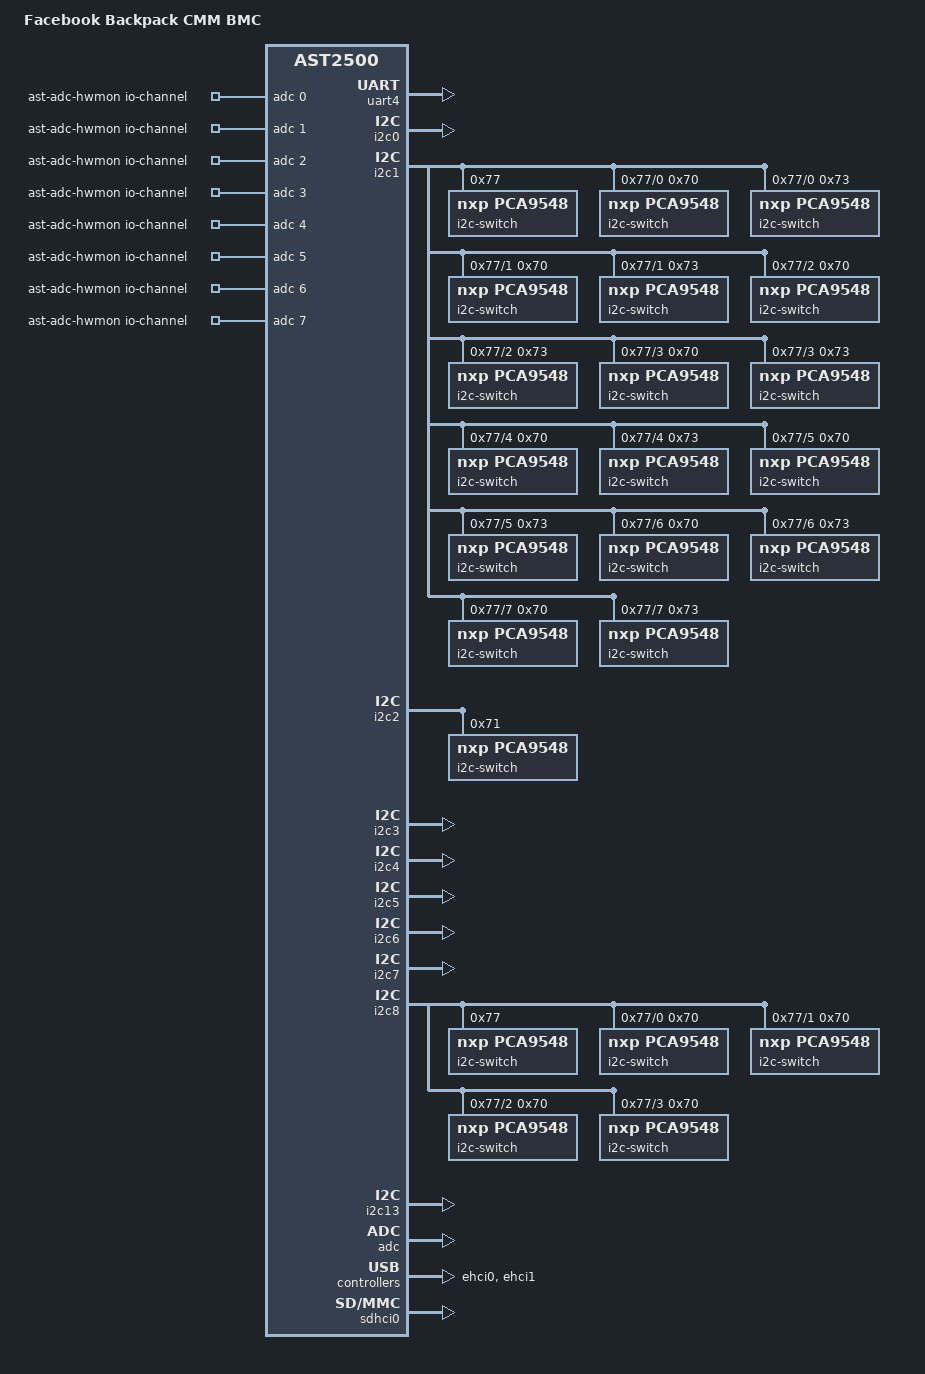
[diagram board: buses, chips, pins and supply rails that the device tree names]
// SPDX-License-Identifier: GPL-2.0+
// Copyright (c) 2018 Facebook Inc.
/dts-v1/;

#include "ast2500-facebook-netbmc-common.dtsi"

/ {
	model = "Facebook Backpack CMM BMC";
	compatible = "facebook,cmm-bmc", "aspeed,ast2500";

	aliases {
		/*
		 * Override the default uart aliases to avoid breaking
		 * the legacy applications.
		 */
		serial0 = &uart5;
		serial1 = &uart1;
		serial2 = &uart3;
		serial3 = &uart4;

		/*
		 * PCA9548 (1-0077) provides 8 channels for connecting to
		 * 4 Line Cards and 4 Fabric Cards.
		 */
		i2c16 = &imux16;
		i2c17 = &imux17;
		i2c18 = &imux18;
		i2c19 = &imux19;
		i2c20 = &imux20;
		i2c21 = &imux21;
		i2c22 = &imux22;
		i2c23 = &imux23;

		/*
		 * PCA9548 (2-0071) provides 8 channels for connecting to
		 * Power Distribution Board.
		 */
		i2c24 = &imux24;
		i2c25 = &imux25;
		i2c26 = &imux26;
		i2c27 = &imux27;
		i2c28 = &imux28;
		i2c29 = &imux29;
		i2c30 = &imux30;
		i2c31 = &imux31;

		/*
		 * PCA9548 (8-0077) provides 8 channels and the first 4
		 * channels are connecting to 4 Fan Control Boards.
		 */
		i2c32 = &imux32;
		i2c33 = &imux33;
		i2c34 = &imux34;
		i2c35 = &imux35;
		i2c36 = &imux36;
		i2c37 = &imux37;
		i2c38 = &imux38;
		i2c39 = &imux39;

		/*
		 * 2 PCA9548 (18-0070 & 18-0073), 16 channels connecting
		 * to Line Card #1.
		 */
		i2c40 = &imux40;
		i2c41 = &imux41;
		i2c42 = &imux42;
		i2c43 = &imux43;
		i2c44 = &imux44;
		i2c45 = &imux45;
		i2c46 = &imux46;
		i2c47 = &imux47;
		i2c48 = &imux48;
		i2c49 = &imux49;
		i2c50 = &imux50;
		i2c51 = &imux51;
		i2c52 = &imux52;
		i2c53 = &imux53;
		i2c54 = &imux54;
		i2c55 = &imux55;

		/*
		 * 2 PCA9548 (19-0070 & 19-0073), 16 channels connecting
		 * to Line Card #2.
		 */
		i2c56 = &imux56;
		i2c57 = &imux57;
		i2c58 = &imux58;
		i2c59 = &imux59;
		i2c60 = &imux60;
		i2c61 = &imux61;
		i2c62 = &imux62;
		i2c63 = &imux63;
		i2c64 = &imux64;
		i2c65 = &imux65;
		i2c66 = &imux66;
		i2c67 = &imux67;
		i2c68 = &imux68;
		i2c69 = &imux69;
		i2c70 = &imux70;
		i2c71 = &imux71;

		/*
		 * 2 PCA9548 (20-0070 & 20-0073), 16 channels connecting
		 * to Line Card #3.
		 */
		i2c72 = &imux72;
		i2c73 = &imux73;
		i2c74 = &imux74;
		i2c75 = &imux75;
		i2c76 = &imux76;
		i2c77 = &imux77;
		i2c78 = &imux78;
		i2c79 = &imux79;
		i2c80 = &imux80;
		i2c81 = &imux81;
		i2c82 = &imux82;
		i2c83 = &imux83;
		i2c84 = &imux84;
		i2c85 = &imux85;
		i2c86 = &imux86;
		i2c87 = &imux87;

		/*
		 * 2 PCA9548 (21-0070 & 21-0073), 16 channels connecting
		 * to Line Card #4.
		 */
		i2c88 = &imux88;
		i2c89 = &imux89;
		i2c90 = &imux90;
		i2c91 = &imux91;
		i2c92 = &imux92;
		i2c93 = &imux93;
		i2c94 = &imux94;
		i2c95 = &imux95;
		i2c96 = &imux96;
		i2c97 = &imux97;
		i2c98 = &imux98;
		i2c99 = &imux99;
		i2c100 = &imux100;
		i2c101 = &imux101;
		i2c102 = &imux102;
		i2c103 = &imux103;

		/*
		 * 2 PCA9548 (16-0070 & 16-0073), 16 channels connecting
		 * to Fabric Card #1.
		 */
		i2c104 = &imux104;
		i2c105 = &imux105;
		i2c106 = &imux106;
		i2c107 = &imux107;
		i2c108 = &imux108;
		i2c109 = &imux109;
		i2c110 = &imux110;
		i2c111 = &imux111;
		i2c112 = &imux112;
		i2c113 = &imux113;
		i2c114 = &imux114;
		i2c115 = &imux115;
		i2c116 = &imux116;
		i2c117 = &imux117;
		i2c118 = &imux118;
		i2c119 = &imux119;

		/*
		 * 2 PCA9548 (17-0070 & 17-0073), 16 channels connecting
		 * to Fabric Card #2.
		 */
		i2c120 = &imux120;
		i2c121 = &imux121;
		i2c122 = &imux122;
		i2c123 = &imux123;
		i2c124 = &imux124;
		i2c125 = &imux125;
		i2c126 = &imux126;
		i2c127 = &imux127;
		i2c128 = &imux128;
		i2c129 = &imux129;
		i2c130 = &imux130;
		i2c131 = &imux131;
		i2c132 = &imux132;
		i2c133 = &imux133;
		i2c134 = &imux134;
		i2c135 = &imux135;

		/*
		 * 2 PCA9548 (22-0070 & 22-0073), 16 channels connecting
		 * to Fabric Card #3.
		 */
		i2c136 = &imux136;
		i2c137 = &imux137;
		i2c138 = &imux138;
		i2c139 = &imux139;
		i2c140 = &imux140;
		i2c141 = &imux141;
		i2c142 = &imux142;
		i2c143 = &imux143;
		i2c144 = &imux144;
		i2c145 = &imux145;
		i2c146 = &imux146;
		i2c147 = &imux147;
		i2c148 = &imux148;
		i2c149 = &imux149;
		i2c150 = &imux150;
		i2c151 = &imux151;

		/*
		 * 2 PCA9548 (23-0070 & 23-0073), 16 channels connecting
		 * to Fabric Card #4.
		 */
		i2c152 = &imux152;
		i2c153 = &imux153;
		i2c154 = &imux154;
		i2c155 = &imux155;
		i2c156 = &imux156;
		i2c157 = &imux157;
		i2c158 = &imux158;
		i2c159 = &imux159;
		i2c160 = &imux160;
		i2c161 = &imux161;
		i2c162 = &imux162;
		i2c163 = &imux163;
		i2c164 = &imux164;
		i2c165 = &imux165;
		i2c166 = &imux166;
		i2c167 = &imux167;

		/*
		 * PCA9548 (32-0070), 8 channels connecting to Fan Control
		 # Board #1.
		 */
		i2c168 = &imux168;
		i2c169 = &imux169;
		i2c170 = &imux170;
		i2c171 = &imux171;
		i2c172 = &imux172;
		i2c173 = &imux173;
		i2c174 = &imux174;
		i2c175 = &imux175;

		/*
		 * PCA9548 (33-0070), 8 channels connecting to Fan Control
		 # Board #2.
		 */
		i2c176 = &imux176;
		i2c177 = &imux177;
		i2c178 = &imux178;
		i2c179 = &imux179;
		i2c180 = &imux180;
		i2c181 = &imux181;
		i2c182 = &imux182;
		i2c183 = &imux183;

		/*
		 * PCA9548 (34-0070), 8 channels connecting to Fan Control
		 # Board #3.
		 */
		i2c184 = &imux184;
		i2c185 = &imux185;
		i2c186 = &imux186;
		i2c187 = &imux187;
		i2c188 = &imux188;
		i2c189 = &imux189;
		i2c190 = &imux190;
		i2c191 = &imux191;

		/*
		 * PCA9548 (35-0070), 8 channels connecting to Fan Control
		 # Board #4.
		 */
		i2c192 = &imux192;
		i2c193 = &imux193;
		i2c194 = &imux194;
		i2c195 = &imux195;
		i2c196 = &imux196;
		i2c197 = &imux197;
		i2c198 = &imux198;
		i2c199 = &imux199;
	};

	chosen {
		stdout-path = &uart1;
		bootargs = "console=ttyS1,9600n8 root=/dev/ram rw earlyprintk";
	};

	ast-adc-hwmon {
		compatible = "iio-hwmon";
		io-channels = <&adc 0>, <&adc 1>, <&adc 2>, <&adc 3>,
			      <&adc 4>, <&adc 5>, <&adc 6>, <&adc 7>;
	};
};

&uart1 {
	pinctrl-0 = <&pinctrl_txd1_default
		     &pinctrl_rxd1_default
		     &pinctrl_ncts1_default
		     &pinctrl_ndcd1_default
		     &pinctrl_ndsr1_default
		     &pinctrl_ndtr1_default
		     &pinctrl_nrts1_default>;
};

&uart3 {
	pinctrl-0 = <&pinctrl_txd3_default
		     &pinctrl_rxd3_default
		     &pinctrl_ncts3_default
		     &pinctrl_ndcd3_default
		     &pinctrl_nri3_default>;
};

&uart4 {
	status = "okay";
	pinctrl-names = "default";
	pinctrl-0 = <&pinctrl_txd4_default
		     &pinctrl_rxd4_default>;
};

/*
 * I2C bus reserved for communication with COM-E.
 */
&i2c0 {
	status = "okay";
};

/*
 * I2C bus to Line Cards and Fabric Cards.
 */
&i2c1 {
	status = "okay";

	i2c-switch@77 {
		compatible = "nxp,pca9548";
		#address-cells = <1>;
		#size-cells = <0>;
		reg = <0x77>;
		i2c-mux-idle-disconnect;

		/* To Fabric Card #1 */
		imux16: i2c@0 {
			#address-cells = <1>;
			#size-cells = <0>;
			reg = <0>;

			i2c-switch@70 {
				compatible = "nxp,pca9548";
				#address-cells = <1>;
				#size-cells = <0>;
				reg = <0x70>;
				i2c-mux-idle-disconnect;

				imux104: i2c@0 {
					#address-cells = <1>;
					#size-cells = <0>;
					reg = <0>;
				};
				imux105: i2c@1 {
					#address-cells = <1>;
					#size-cells = <0>;
					reg = <1>;
				};
				imux106: i2c@2 {
					#address-cells = <1>;
					#size-cells = <0>;
					reg = <2>;
				};
				imux107: i2c@3 {
					#address-cells = <1>;
					#size-cells = <0>;
					reg = <3>;
				};
				imux108: i2c@4 {
					#address-cells = <1>;
					#size-cells = <0>;
					reg = <4>;
				};
				imux109: i2c@5 {
					#address-cells = <1>;
					#size-cells = <0>;
					reg = <5>;
				};
				imux110: i2c@6 {
					#address-cells = <1>;
					#size-cells = <0>;
					reg = <6>;
				};
				imux111: i2c@7 {
					#address-cells = <1>;
					#size-cells = <0>;
					reg = <7>;
				};
			};

			i2c-switch@73 {
				compatible = "nxp,pca9548";
				#address-cells = <1>;
				#size-cells = <0>;
				reg = <0x73>;
				i2c-mux-idle-disconnect;

				imux112: i2c@0 {
					#address-cells = <1>;
					#size-cells = <0>;
					reg = <0>;
				};
				imux113: i2c@1 {
					#address-cells = <1>;
					#size-cells = <0>;
					reg = <1>;
				};
				imux114: i2c@2 {
					#address-cells = <1>;
					#size-cells = <0>;
					reg = <2>;
				};
				imux115: i2c@3 {
					#address-cells = <1>;
					#size-cells = <0>;
					reg = <3>;
				};
				imux116: i2c@4 {
					#address-cells = <1>;
					#size-cells = <0>;
					reg = <4>;
				};
				imux117: i2c@5 {
					#address-cells = <1>;
					#size-cells = <0>;
					reg = <5>;
				};
				imux118: i2c@6 {
					#address-cells = <1>;
					#size-cells = <0>;
					reg = <6>;
				};
				imux119: i2c@7 {
					#address-cells = <1>;
					#size-cells = <0>;
					reg = <7>;
				};
			};
		};

		/* To Fabric Card #2 */
		imux17: i2c@1 {
			#address-cells = <1>;
			#size-cells = <0>;
			reg = <1>;

			i2c-switch@70 {
				compatible = "nxp,pca9548";
				#address-cells = <1>;
				#size-cells = <0>;
				reg = <0x70>;
				i2c-mux-idle-disconnect;

				imux120: i2c@0 {
					#address-cells = <1>;
					#size-cells = <0>;
					reg = <0>;
				};
				imux121: i2c@1 {
					#address-cells = <1>;
					#size-cells = <0>;
					reg = <1>;
				};
				imux122: i2c@2 {
					#address-cells = <1>;
					#size-cells = <0>;
					reg = <2>;
				};
				imux123: i2c@3 {
					#address-cells = <1>;
					#size-cells = <0>;
					reg = <3>;
				};
				imux124: i2c@4 {
					#address-cells = <1>;
					#size-cells = <0>;
					reg = <4>;
				};
				imux125: i2c@5 {
					#address-cells = <1>;
					#size-cells = <0>;
					reg = <5>;
				};
				imux126: i2c@6 {
					#address-cells = <1>;
					#size-cells = <0>;
					reg = <6>;
				};
				imux127: i2c@7 {
					#address-cells = <1>;
					#size-cells = <0>;
					reg = <7>;
				};
			};

			i2c-switch@73 {
				compatible = "nxp,pca9548";
				#address-cells = <1>;
				#size-cells = <0>;
				reg = <0x73>;
				i2c-mux-idle-disconnect;

				imux128: i2c@0 {
					#address-cells = <1>;
					#size-cells = <0>;
					reg = <0>;
				};
				imux129: i2c@1 {
					#address-cells = <1>;
					#size-cells = <0>;
					reg = <1>;
				};
				imux130: i2c@2 {
					#address-cells = <1>;
					#size-cells = <0>;
					reg = <2>;
				};
				imux131: i2c@3 {
					#address-cells = <1>;
					#size-cells = <0>;
					reg = <3>;
				};
				imux132: i2c@4 {
					#address-cells = <1>;
					#size-cells = <0>;
					reg = <4>;
				};
				imux133: i2c@5 {
					#address-cells = <1>;
					#size-cells = <0>;
					reg = <5>;
				};
				imux134: i2c@6 {
					#address-cells = <1>;
					#size-cells = <0>;
					reg = <6>;
				};
				imux135: i2c@7 {
					#address-cells = <1>;
					#size-cells = <0>;
					reg = <7>;
				};
			};
		};

		/* To Line Card #1 */
		imux18: i2c@2 {
			#address-cells = <1>;
			#size-cells = <0>;
			reg = <2>;

			i2c-switch@70 {
				compatible = "nxp,pca9548";
				#address-cells = <1>;
				#size-cells = <0>;
				reg = <0x70>;
				i2c-mux-idle-disconnect;

				imux40: i2c@0 {
					#address-cells = <1>;
					#size-cells = <0>;
					reg = <0>;
				};
				imux41: i2c@1 {
					#address-cells = <1>;
					#size-cells = <0>;
					reg = <1>;
				};
				imux42: i2c@2 {
					#address-cells = <1>;
					#size-cells = <0>;
					reg = <2>;
				};
				imux43: i2c@3 {
					#address-cells = <1>;
					#size-cells = <0>;
					reg = <3>;
				};
				imux44: i2c@4 {
					#address-cells = <1>;
					#size-cells = <0>;
					reg = <4>;
				};
				imux45: i2c@5 {
					#address-cells = <1>;
					#size-cells = <0>;
					reg = <5>;
				};
				imux46: i2c@6 {
					#address-cells = <1>;
					#size-cells = <0>;
					reg = <6>;
				};
				imux47: i2c@7 {
					#address-cells = <1>;
					#size-cells = <0>;
					reg = <7>;
				};
			};

			i2c-switch@73 {
				compatible = "nxp,pca9548";
				#address-cells = <1>;
				#size-cells = <0>;
				reg = <0x73>;
				i2c-mux-idle-disconnect;

				imux48: i2c@0 {
					#address-cells = <1>;
					#size-cells = <0>;
					reg = <0>;
				};
				imux49: i2c@1 {
					#address-cells = <1>;
					#size-cells = <0>;
					reg = <1>;
				};
				imux50: i2c@2 {
					#address-cells = <1>;
					#size-cells = <0>;
					reg = <2>;
				};
				imux51: i2c@3 {
					#address-cells = <1>;
					#size-cells = <0>;
					reg = <3>;
				};
				imux52: i2c@4 {
					#address-cells = <1>;
					#size-cells = <0>;
					reg = <4>;
				};
				imux53: i2c@5 {
					#address-cells = <1>;
					#size-cells = <0>;
					reg = <5>;
				};
				imux54: i2c@6 {
					#address-cells = <1>;
					#size-cells = <0>;
					reg = <6>;
				};
				imux55: i2c@7 {
					#address-cells = <1>;
					#size-cells = <0>;
					reg = <7>;
				};
			};
		};

		/* To Line Card #2 */
		imux19: i2c@3 {
			#address-cells = <1>;
			#size-cells = <0>;
			reg = <3>;

			i2c-switch@70 {
				compatible = "nxp,pca9548";
				#address-cells = <1>;
				#size-cells = <0>;
				reg = <0x70>;
				i2c-mux-idle-disconnect;

				imux56: i2c@0 {
					#address-cells = <1>;
					#size-cells = <0>;
					reg = <0>;
				};
				imux57: i2c@1 {
					#address-cells = <1>;
					#size-cells = <0>;
					reg = <1>;
				};
				imux58: i2c@2 {
					#address-cells = <1>;
					#size-cells = <0>;
					reg = <2>;
				};
				imux59: i2c@3 {
					#address-cells = <1>;
					#size-cells = <0>;
					reg = <3>;
				};
				imux60: i2c@4 {
					#address-cells = <1>;
					#size-cells = <0>;
					reg = <4>;
				};
				imux61: i2c@5 {
					#address-cells = <1>;
					#size-cells = <0>;
					reg = <5>;
				};
				imux62: i2c@6 {
					#address-cells = <1>;
					#size-cells = <0>;
					reg = <6>;
				};
				imux63: i2c@7 {
					#address-cells = <1>;
					#size-cells = <0>;
					reg = <7>;
				};
			};

			i2c-switch@73 {
				compatible = "nxp,pca9548";
				#address-cells = <1>;
				#size-cells = <0>;
				reg = <0x73>;
				i2c-mux-idle-disconnect;

				imux64: i2c@0 {
					#address-cells = <1>;
					#size-cells = <0>;
					reg = <0>;
				};
				imux65: i2c@1 {
					#address-cells = <1>;
					#size-cells = <0>;
					reg = <1>;
				};
				imux66: i2c@2 {
					#address-cells = <1>;
					#size-cells = <0>;
					reg = <2>;
				};
				imux67: i2c@3 {
					#address-cells = <1>;
					#size-cells = <0>;
					reg = <3>;
				};
				imux68: i2c@4 {
					#address-cells = <1>;
					#size-cells = <0>;
					reg = <4>;
				};
				imux69: i2c@5 {
					#address-cells = <1>;
					#size-cells = <0>;
					reg = <5>;
				};
				imux70: i2c@6 {
					#address-cells = <1>;
					#size-cells = <0>;
					reg = <6>;
				};
				imux71: i2c@7 {
					#address-cells = <1>;
					#size-cells = <0>;
					reg = <7>;
				};
			};
		};

		/* To LC3 SCM */
		imux20: i2c@4 {
			#address-cells = <1>;
			#size-cells = <0>;
			reg = <4>;

			i2c-switch@70 {
				compatible = "nxp,pca9548";
				#address-cells = <1>;
				#size-cells = <0>;
				reg = <0x70>;
				i2c-mux-idle-disconnect;

				imux72: i2c@0 {
					#address-cells = <1>;
					#size-cells = <0>;
					reg = <0>;
				};
				imux73: i2c@1 {
					#address-cells = <1>;
					#size-cells = <0>;
					reg = <1>;
				};
				imux74: i2c@2 {
					#address-cells = <1>;
					#size-cells = <0>;
					reg = <2>;
				};
				imux75: i2c@3 {
					#address-cells = <1>;
					#size-cells = <0>;
					reg = <3>;
				};
				imux76: i2c@4 {
					#address-cells = <1>;
					#size-cells = <0>;
					reg = <4>;
				};
				imux77: i2c@5 {
					#address-cells = <1>;
					#size-cells = <0>;
					reg = <5>;
				};
				imux78: i2c@6 {
					#address-cells = <1>;
					#size-cells = <0>;
					reg = <6>;
				};
				imux79: i2c@7 {
					#address-cells = <1>;
					#size-cells = <0>;
					reg = <7>;
				};
			};

			i2c-switch@73 {
				compatible = "nxp,pca9548";
				#address-cells = <1>;
				#size-cells = <0>;
				reg = <0x73>;
				i2c-mux-idle-disconnect;

				imux80: i2c@0 {
					#address-cells = <1>;
					#size-cells = <0>;
					reg = <0>;
				};
				imux81: i2c@1 {
					#address-cells = <1>;
					#size-cells = <0>;
					reg = <1>;
				};
				imux82: i2c@2 {
					#address-cells = <1>;
					#size-cells = <0>;
					reg = <2>;
				};
				imux83: i2c@3 {
					#address-cells = <1>;
					#size-cells = <0>;
					reg = <3>;
				};
				imux84: i2c@4 {
					#address-cells = <1>;
					#size-cells = <0>;
					reg = <4>;
				};
				imux85: i2c@5 {
					#address-cells = <1>;
					#size-cells = <0>;
					reg = <5>;
				};
				imux86: i2c@6 {
					#address-cells = <1>;
					#size-cells = <0>;
					reg = <6>;
				};
				imux87: i2c@7 {
					#address-cells = <1>;
					#size-cells = <0>;
					reg = <7>;
				};
			};
		};

		/* To Line Card #4 */
		imux21: i2c@5 {
			#address-cells = <1>;
			#size-cells = <0>;
			reg = <5>;

			i2c-switch@70 {
				compatible = "nxp,pca9548";
				#address-cells = <1>;
				#size-cells = <0>;
				reg = <0x70>;
				i2c-mux-idle-disconnect;

				imux88: i2c@0 {
					#address-cells = <1>;
					#size-cells = <0>;
					reg = <0>;
				};
				imux89: i2c@1 {
					#address-cells = <1>;
					#size-cells = <0>;
					reg = <1>;
				};
				imux90: i2c@2 {
					#address-cells = <1>;
					#size-cells = <0>;
					reg = <2>;
				};
				imux91: i2c@3 {
					#address-cells = <1>;
					#size-cells = <0>;
					reg = <3>;
				};
				imux92: i2c@4 {
					#address-cells = <1>;
					#size-cells = <0>;
					reg = <4>;
				};
				imux93: i2c@5 {
					#address-cells = <1>;
					#size-cells = <0>;
					reg = <5>;
				};
				imux94: i2c@6 {
					#address-cells = <1>;
					#size-cells = <0>;
					reg = <6>;
				};
				imux95: i2c@7 {
					#address-cells = <1>;
					#size-cells = <0>;
					reg = <7>;
				};
			};

			i2c-switch@73 {
				compatible = "nxp,pca9548";
				#address-cells = <1>;
				#size-cells = <0>;
				reg = <0x73>;
				i2c-mux-idle-disconnect;

				imux96: i2c@0 {
					#address-cells = <1>;
					#size-cells = <0>;
					reg = <0>;
				};
				imux97: i2c@1 {
					#address-cells = <1>;
					#size-cells = <0>;
					reg = <1>;
				};
				imux98: i2c@2 {
					#address-cells = <1>;
					#size-cells = <0>;
					reg = <2>;
				};
				imux99: i2c@3 {
					#address-cells = <1>;
					#size-cells = <0>;
					reg = <3>;
				};
				imux100: i2c@4 {
					#address-cells = <1>;
					#size-cells = <0>;
					reg = <4>;
				};
				imux101: i2c@5 {
					#address-cells = <1>;
					#size-cells = <0>;
					reg = <5>;
				};
				imux102: i2c@6 {
					#address-cells = <1>;
					#size-cells = <0>;
					reg = <6>;
				};
				imux103: i2c@7 {
					#address-cells = <1>;
					#size-cells = <0>;
					reg = <7>;
				};
			};
		};

		/* To Fabric Card #3 */
		imux22: i2c@6 {
			#address-cells = <1>;
			#size-cells = <0>;
			reg = <6>;

			i2c-switch@70 {
				compatible = "nxp,pca9548";
				#address-cells = <1>;
				#size-cells = <0>;
				reg = <0x70>;
				i2c-mux-idle-disconnect;

				imux136: i2c@0 {
					#address-cells = <1>;
					#size-cells = <0>;
					reg = <0>;
				};
				imux137: i2c@1 {
					#address-cells = <1>;
					#size-cells = <0>;
					reg = <1>;
				};
				imux138: i2c@2 {
					#address-cells = <1>;
					#size-cells = <0>;
					reg = <2>;
				};
				imux139: i2c@3 {
					#address-cells = <1>;
					#size-cells = <0>;
					reg = <3>;
				};
				imux140: i2c@4 {
					#address-cells = <1>;
					#size-cells = <0>;
					reg = <4>;
				};
				imux141: i2c@5 {
					#address-cells = <1>;
					#size-cells = <0>;
					reg = <5>;
				};
				imux142: i2c@6 {
					#address-cells = <1>;
					#size-cells = <0>;
					reg = <6>;
				};
				imux143: i2c@7 {
					#address-cells = <1>;
					#size-cells = <0>;
					reg = <7>;
				};
			};

			i2c-switch@73 {
				compatible = "nxp,pca9548";
				#address-cells = <1>;
				#size-cells = <0>;
				reg = <0x73>;
				i2c-mux-idle-disconnect;

				imux144: i2c@0 {
					#address-cells = <1>;
					#size-cells = <0>;
					reg = <0>;
				};
				imux145: i2c@1 {
					#address-cells = <1>;
					#size-cells = <0>;
					reg = <1>;
				};
				imux146: i2c@2 {
					#address-cells = <1>;
					#size-cells = <0>;
					reg = <2>;
				};
				imux147: i2c@3 {
					#address-cells = <1>;
					#size-cells = <0>;
					reg = <3>;
				};
				imux148: i2c@4 {
					#address-cells = <1>;
					#size-cells = <0>;
					reg = <4>;
				};
				imux149: i2c@5 {
					#address-cells = <1>;
					#size-cells = <0>;
					reg = <5>;
				};
				imux150: i2c@6 {
					#address-cells = <1>;
					#size-cells = <0>;
					reg = <6>;
				};
				imux151: i2c@7 {
					#address-cells = <1>;
					#size-cells = <0>;
					reg = <7>;
				};
			};
		};

		/* To Fabric Card #4 */
		imux23: i2c@7 {
			#address-cells = <1>;
			#size-cells = <0>;
			reg = <7>;

			i2c-switch@70 {
				compatible = "nxp,pca9548";
				#address-cells = <1>;
				#size-cells = <0>;
				reg = <0x70>;
				i2c-mux-idle-disconnect;

				imux152: i2c@0 {
					#address-cells = <1>;
					#size-cells = <0>;
					reg = <0>;
				};
				imux153: i2c@1 {
					#address-cells = <1>;
					#size-cells = <0>;
					reg = <1>;
				};
				imux154: i2c@2 {
					#address-cells = <1>;
					#size-cells = <0>;
					reg = <2>;
				};
				imux155: i2c@3 {
					#address-cells = <1>;
					#size-cells = <0>;
					reg = <3>;
				};
				imux156: i2c@4 {
					#address-cells = <1>;
					#size-cells = <0>;
					reg = <4>;
				};
				imux157: i2c@5 {
					#address-cells = <1>;
					#size-cells = <0>;
					reg = <5>;
				};
				imux158: i2c@6 {
					#address-cells = <1>;
					#size-cells = <0>;
					reg = <6>;
				};
				imux159: i2c@7 {
					#address-cells = <1>;
					#size-cells = <0>;
					reg = <7>;
				};
			};

			i2c-switch@73 {
				compatible = "nxp,pca9548";
				#address-cells = <1>;
				#size-cells = <0>;
				reg = <0x73>;
				i2c-mux-idle-disconnect;

				imux160: i2c@0 {
					#address-cells = <1>;
					#size-cells = <0>;
					reg = <0>;
				};
				imux161: i2c@1 {
					#address-cells = <1>;
					#size-cells = <0>;
					reg = <1>;
				};
				imux162: i2c@2 {
					#address-cells = <1>;
					#size-cells = <0>;
					reg = <2>;
				};
				imux163: i2c@3 {
					#address-cells = <1>;
					#size-cells = <0>;
					reg = <3>;
				};
				imux164: i2c@4 {
					#address-cells = <1>;
					#size-cells = <0>;
					reg = <4>;
				};
				imux165: i2c@5 {
					#address-cells = <1>;
					#size-cells = <0>;
					reg = <5>;
				};
				imux166: i2c@6 {
					#address-cells = <1>;
					#size-cells = <0>;
					reg = <6>;
				};
				imux167: i2c@7 {
					#address-cells = <1>;
					#size-cells = <0>;
					reg = <7>;
				};
			};
		};
	};
};

/*
 * I2C bus to Power Distribution Board.
 */
&i2c2 {
	status = "okay";

	i2c-switch@71 {
		compatible = "nxp,pca9548";
		#address-cells = <1>;
		#size-cells = <0>;
		reg = <0x71>;
		i2c-mux-idle-disconnect;

		imux24: i2c@0 {
			#address-cells = <1>;
			#size-cells = <0>;
			reg = <0>;
		};

		imux25: i2c@1 {
			#address-cells = <1>;
			#size-cells = <0>;
			reg = <1>;
		};

		imux26: i2c@2 {
			#address-cells = <1>;
			#size-cells = <0>;
			reg = <2>;
		};

		imux27: i2c@3 {
			#address-cells = <1>;
			#size-cells = <0>;
			reg = <3>;
		};

		imux28: i2c@4 {
			#address-cells = <1>;
			#size-cells = <0>;
			reg = <4>;
		};

		imux29: i2c@5 {
			#address-cells = <1>;
			#size-cells = <0>;
			reg = <5>;
		};

		imux30: i2c@6 {
			#address-cells = <1>;
			#size-cells = <0>;
			reg = <6>;
		};

		imux31: i2c@7 {
			#address-cells = <1>;
			#size-cells = <0>;
			reg = <7>;
		};
	};
};

/*
 * I2c bus connected with temperature sensors on CMM.
 */
&i2c3 {
	status = "okay";
};

/*
 * I2C bus reserved for communication with COM-E.
 */
&i2c4 {
	status = "okay";
};

/*
 * I2c bus connected with ADM1278.
 */
&i2c5 {
	status = "okay";
};

/*
 * I2c bus connected with I/O Expander.
 */
&i2c6 {
	status = "okay";
};

/*
 * I2c bus connected with I/O Expander and EPROMs.
 */
&i2c7 {
	status = "okay";
};

/*
 * I2C bus to Fan Control Boards.
 */
&i2c8 {
	status = "okay";

	i2c-switch@77 {
		compatible = "nxp,pca9548";
		#address-cells = <1>;
		#size-cells = <0>;
		reg = <0x77>;
		i2c-mux-idle-disconnect;

		/* To Fan Control Board #1 */
		imux32: i2c@0 {
			#address-cells = <1>;
			#size-cells = <0>;
			reg = <0>;

			i2c-switch@70 {
				compatible = "nxp,pca9548";
				#address-cells = <1>;
				#size-cells = <0>;
				reg = <0x70>;
				i2c-mux-idle-disconnect;

				imux168: i2c@0 {
					#address-cells = <1>;
					#size-cells = <0>;
					reg = <0>;
				};
				imux169: i2c@1 {
					#address-cells = <1>;
					#size-cells = <0>;
					reg = <1>;
				};
				imux170: i2c@2 {
					#address-cells = <1>;
					#size-cells = <0>;
					reg = <2>;
				};
				imux171: i2c@3 {
					#address-cells = <1>;
					#size-cells = <0>;
					reg = <3>;
				};
				imux172: i2c@4 {
					#address-cells = <1>;
					#size-cells = <0>;
					reg = <4>;
				};
				imux173: i2c@5 {
					#address-cells = <1>;
					#size-cells = <0>;
					reg = <5>;
				};
				imux174: i2c@6 {
					#address-cells = <1>;
					#size-cells = <0>;
					reg = <6>;
				};
				imux175: i2c@7 {
					#address-cells = <1>;
					#size-cells = <0>;
					reg = <7>;
				};
			};
		};

		/* To Fan Control Board #2 */
		imux33: i2c@1 {
			#address-cells = <1>;
			#size-cells = <0>;
			reg = <1>;

			i2c-switch@70 {
				compatible = "nxp,pca9548";
				#address-cells = <1>;
				#size-cells = <0>;
				reg = <0x70>;
				i2c-mux-idle-disconnect;

				imux176: i2c@0 {
					#address-cells = <1>;
					#size-cells = <0>;
					reg = <0>;
				};
				imux177: i2c@1 {
					#address-cells = <1>;
					#size-cells = <0>;
					reg = <1>;
				};
				imux178: i2c@2 {
					#address-cells = <1>;
					#size-cells = <0>;
					reg = <2>;
				};
				imux179: i2c@3 {
					#address-cells = <1>;
					#size-cells = <0>;
					reg = <3>;
				};
				imux180: i2c@4 {
					#address-cells = <1>;
					#size-cells = <0>;
					reg = <4>;
				};
				imux181: i2c@5 {
					#address-cells = <1>;
					#size-cells = <0>;
					reg = <5>;
				};
				imux182: i2c@6 {
					#address-cells = <1>;
					#size-cells = <0>;
					reg = <6>;
				};
				imux183: i2c@7 {
					#address-cells = <1>;
					#size-cells = <0>;
					reg = <7>;
				};
			};
		};

		/* To Fan Control Board #3 */
		imux34: i2c@2 {
			#address-cells = <1>;
			#size-cells = <0>;
			reg = <2>;

			i2c-switch@70 {
				compatible = "nxp,pca9548";
				#address-cells = <1>;
				#size-cells = <0>;
				reg = <0x70>;
				i2c-mux-idle-disconnect;

				imux184: i2c@0 {
					#address-cells = <1>;
					#size-cells = <0>;
					reg = <0>;
				};
				imux185: i2c@1 {
					#address-cells = <1>;
					#size-cells = <0>;
					reg = <1>;
				};
				imux186: i2c@2 {
					#address-cells = <1>;
					#size-cells = <0>;
					reg = <2>;
				};
				imux187: i2c@3 {
					#address-cells = <1>;
					#size-cells = <0>;
					reg = <3>;
				};
				imux188: i2c@4 {
					#address-cells = <1>;
					#size-cells = <0>;
					reg = <4>;
				};
				imux189: i2c@5 {
					#address-cells = <1>;
					#size-cells = <0>;
					reg = <5>;
				};
				imux190: i2c@6 {
					#address-cells = <1>;
					#size-cells = <0>;
					reg = <6>;
				};
				imux191: i2c@7 {
					#address-cells = <1>;
					#size-cells = <0>;
					reg = <7>;
				};
			};
		};

		/* To Fan Control Board #4 */
		imux35: i2c@3 {
			#address-cells = <1>;
			#size-cells = <0>;
			reg = <3>;

			i2c-switch@70 {
				compatible = "nxp,pca9548";
				#address-cells = <1>;
				#size-cells = <0>;
				reg = <0x70>;
				i2c-mux-idle-disconnect;

				imux192: i2c@0 {
					#address-cells = <1>;
					#size-cells = <0>;
					reg = <0>;
				};
				imux193: i2c@1 {
					#address-cells = <1>;
					#size-cells = <0>;
					reg = <1>;
				};
				imux194: i2c@2 {
					#address-cells = <1>;
					#size-cells = <0>;
					reg = <2>;
				};
				imux195: i2c@3 {
					#address-cells = <1>;
					#size-cells = <0>;
					reg = <3>;
				};
				imux196: i2c@4 {
					#address-cells = <1>;
					#size-cells = <0>;
					reg = <4>;
				};
				imux197: i2c@5 {
					#address-cells = <1>;
					#size-cells = <0>;
					reg = <5>;
				};
				imux198: i2c@6 {
					#address-cells = <1>;
					#size-cells = <0>;
					reg = <6>;
				};
				imux199: i2c@7 {
					#address-cells = <1>;
					#size-cells = <0>;
					reg = <7>;
				};
			};
		};

		imux36: i2c@4 {
			#address-cells = <1>;
			#size-cells = <0>;
			reg = <4>;
		};

		imux37: i2c@5 {
			#address-cells = <1>;
			#size-cells = <0>;
			reg = <5>;
		};

		imux38: i2c@6 {
			#address-cells = <1>;
			#size-cells = <0>;
			reg = <6>;
		};

		imux39: i2c@7 {
			#address-cells = <1>;
			#size-cells = <0>;
			reg = <7>;
		};
	};
};

/*
 * I2C bus to CMM CPLD.
 */
&i2c13 {
	status = "okay";
};

&adc {
	status = "okay";
};

&ehci0 {
	status = "okay";
};

&ehci1 {
	status = "okay";
};

&vhub {
	status = "disabled";
};

&sdhci0 {
	status = "okay";

	pinctrl-names = "default";
	pinctrl-0 = <&pinctrl_sd1_default>;
};

&sdhci1 {
	status = "disabled";
};

&fmc_flash0 {
#include "facebook-bmc-flash-layout.dtsi"
};

&fmc_flash1 {
	partitions {
		compatible = "fixed-partitions";
		#address-cells = <1>;
		#size-cells = <1>;

		flash1@0 {
			reg = <0x0 0x2000000>;
			label = "flash1";
		};
	};
};
